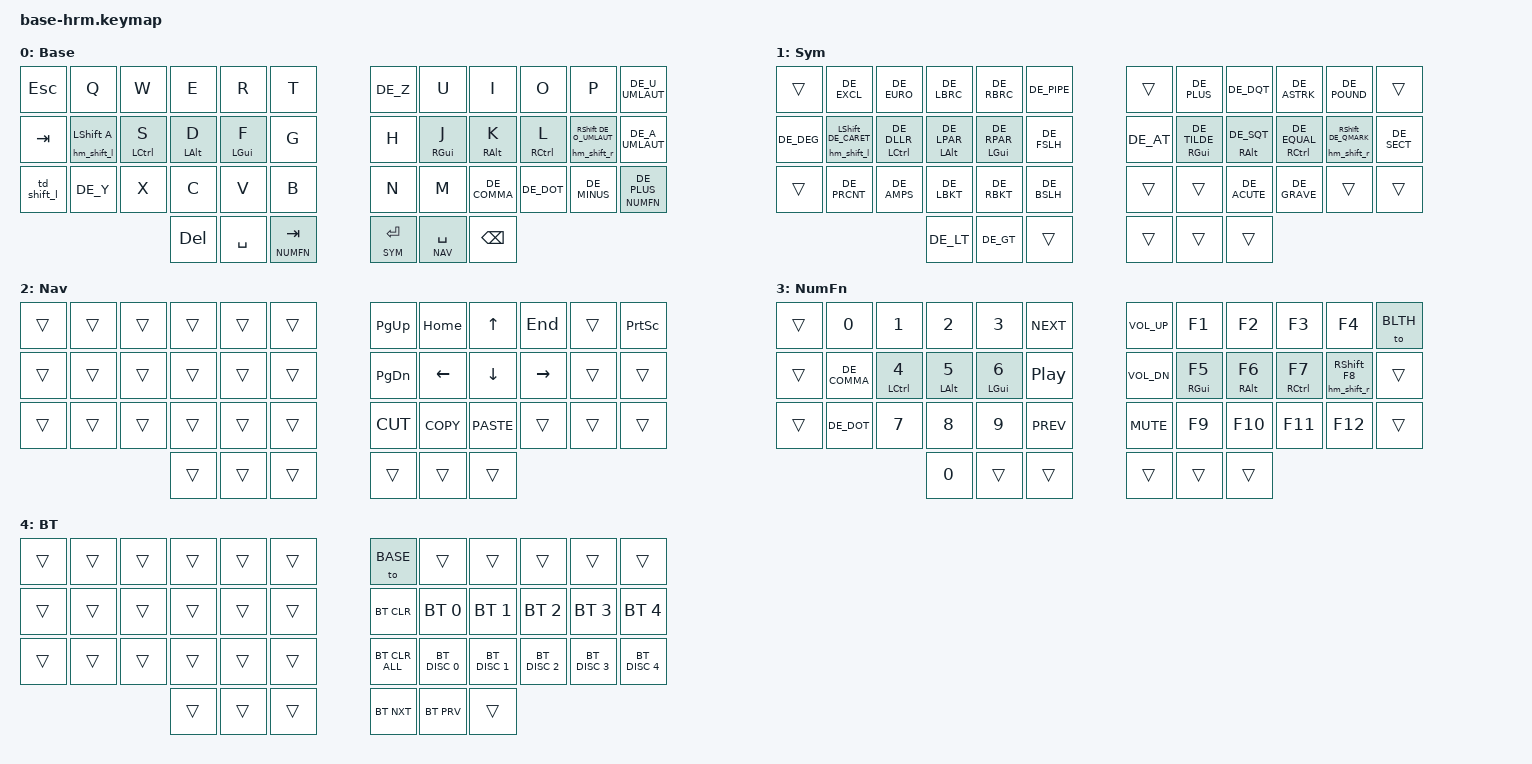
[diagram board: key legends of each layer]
/*
 * Copyright (c) 2020 The ZMK Contributors
 *
 * SPDX-License-Identifier: MIT
 */

// Define layer numbers
#define BASE 0
#define SYM 1
#define NAV 2
#define NUMFN 3
#define BLTH 4
#define NUM 5


// ZMK includes
#include <behaviors.dtsi>
#include <dt-bindings/zmk/keys.h>
#include <dt-bindings/zmk/bt.h>

// ZMK-locales includes
#include <locale/keys_de.h>

// Personal includes
#include "includes/settings.dtsi"
#include "includes/combos.dtsi"
#include "includes/behaviours_homerow_mods.dtsi"
#include "includes/behaviours_mod_morph.dtsi"
#include "includes/behaviours_other.dtsi"

/ {

  keymap {
    compatible = "zmk,keymap";



    Base_layer {
      display-name = "Base";
      bindings = <
// ╭────────────────────────┬────────────────────────┬────────────────────────┬────────────────────────┬────────────────────────┬────────────────────────╮    ╭────────────────────────┬────────────────────────┬────────────────────────┬───────────────────────┬────────────────────────┬────────────────────────╮
     &kp ESC                  &kp Q                    &kp W                    &kp E                    &kp R                    &kp T                         &kp DE_Z                 &kp U                    &kp I                    &kp O                   &kp P                    &kp DE_U_UMLAUT
// ├────────────────────────┼────────────────────────┼────────────────────────┼────────────────────────┼────────────────────────┼────────────────────────┤    ├────────────────────────┼────────────────────────┼────────────────────────┼───────────────────────┼────────────────────────┼────────────────────────┤
     &kp TAB                  &hm_shift_l LSHFT A      &hm_l LCTRL S            &hm_l LALT D             &hm_l LGUI F             &kp G                         &kp H                    &hm_r RGUI J             &hm_r RALT K             &hm_r RCTRL L           &hm_shift_r RSHFT DE_O_UMLAUT  &kp DE_A_UMLAUT
// ├────────────────────────┼────────────────────────┼────────────────────────┼────────────────────────┼────────────────────────┼────────────────────────┤    ├────────────────────────┼────────────────────────┼────────────────────────┼───────────────────────┼────────────────────────┼────────────────────────┤
     &td_shift_l              &kp DE_Y                 &kp X                    &kp C                    &kp V                    &kp B                         &kp N                    &kp M                    &kp DE_COMMA             &kp DE_DOT              &kp DE_MINUS             &lt NUMFN DE_PLUS
// ╰────────────────────────┴────────────────────────┴────────────────────────┴────────────────────────┼────────────────────────┼────────────────────────┤    ├────────────────────────┼────────────────────────┼────────────────────────┼───────────────────────┼────────────────────────┼────────────────────────╯
                                                                                &kp DEL                  &kp SPACE                &lt NUMFN TAB                 &lt SYM RET              &lt NAV SPACE            &kp BSPC
//                                                                            ╰────────────────────────┴────────────────────────┴────────────────────────╯    ╰────────────────────────┴────────────────────────┴────────────────────────╯
      >;
    };

    Sym_layer {
      display-name = "Sym";
      bindings = <
// ╭────────────────────────┬────────────────────────┬────────────────────────┬────────────────────────┬────────────────────────┬────────────────────────╮    ╭────────────────────────┬────────────────────────┬────────────────────────┬───────────────────────┬────────────────────────┬────────────────────────╮
     &trans                   &kp DE_EXCL              &kp DE_EURO              &kp DE_LBRC              &kp DE_RBRC              &kp DE_PIPE                   &trans                   &kp DE_PLUS              &kp DE_DQT               &kp DE_ASTRK            &kp DE_POUND             &trans
// ├────────────────────────┼────────────────────────┼────────────────────────┼────────────────────────┼────────────────────────┼────────────────────────┤    ├────────────────────────┼────────────────────────┼────────────────────────┼───────────────────────┼────────────────────────┼────────────────────────┤
     &kp DE_DEG               &hm_shift_l LSHFT DE_CARET &hm_l LCTRL DE_DLLR     &hm_l LALT DE_LPAR      &hm_l LGUI DE_RPAR       &kp DE_FSLH                   &kp DE_AT                &hm_r RGUI DE_TILDE      &hm_r RALT DE_SQT        &hm_r RCTRL DE_EQUAL    &hm_shift_r RSHFT DE_QMARK &kp DE_SECT
// ├────────────────────────┼────────────────────────┼────────────────────────┼────────────────────────┼────────────────────────┼────────────────────────┤    ├────────────────────────┼────────────────────────┼────────────────────────┼───────────────────────┼────────────────────────┼────────────────────────┤
     &trans                   &kp DE_PRCNT             &kp DE_AMPS              &kp DE_LBKT              &kp DE_RBKT              &kp DE_BSLH                   &trans                   &trans                   &kp DE_ACUTE             &kp DE_GRAVE            &trans                   &trans
// ╰────────────────────────┴────────────────────────┴────────────────────────┴────────────────────────┼────────────────────────┼────────────────────────┤    ├────────────────────────┼────────────────────────┼────────────────────────┼───────────────────────┼────────────────────────┼────────────────────────╯
                                                                                &kp DE_LT                &kp DE_GT                &trans                        &trans                   &trans                   &trans
//                                                                            ╰────────────────────────┴────────────────────────┴────────────────────────╯    ╰────────────────────────┴────────────────────────┴────────────────────────╯
      >;
    };

    Nav_layer {
      display-name = "Nav";
      bindings = <
// ╭────────────────────────┬────────────────────────┬────────────────────────┬────────────────────────┬────────────────────────┬────────────────────────╮    ╭────────────────────────┬────────────────────────┬────────────────────────┬────────────────────────┬────────────────────────┬────────────────────────╮
     &trans                   &trans                   &trans                   &trans                   &trans                   &trans                        &kp PAGE_UP              &kp HOME                 &kp UP                   &kp END                  &trans                   &kp PSCRN
// ├────────────────────────┼────────────────────────┼────────────────────────┼────────────────────────┼────────────────────────┼────────────────────────┤    ├────────────────────────┼────────────────────────┼────────────────────────┼────────────────────────┼────────────────────────┼────────────────────────┤
     &trans                   &trans                   &trans                   &trans                   &trans                   &trans                        &kp PAGE_DOWN            &kp LEFT                 &kp DOWN                 &kp RIGHT                &trans                   &trans
// ├────────────────────────┼────────────────────────┼────────────────────────┼────────────────────────┼────────────────────────┼────────────────────────┤    ├────────────────────────┼────────────────────────┼────────────────────────┼────────────────────────┼────────────────────────┼────────────────────────┤
     &trans                   &trans                   &trans                   &trans                   &trans                   &trans                        &kp K_CUT                &kp K_COPY               &kp K_PASTE              &trans                   &trans                   &trans
// ╰────────────────────────┴────────────────────────┴────────────────────────┴────────────────────────┼────────────────────────┼────────────────────────┤    ├────────────────────────┼────────────────────────┼────────────────────────┼────────────────────────┴────────────────────────┼────────────────────────╯
                                                                                &trans                   &trans                   &trans                        &trans                   &trans                   &trans
//                                                                            ╰────────────────────────┴────────────────────────┴────────────────────────╯    ╰────────────────────────┴────────────────────────┴────────────────────────╯
      >;
    };

    NumFn_layer {
      display-name = "NumFn";
      bindings = <
// ╭────────────────────────┬────────────────────────┬────────────────────────┬────────────────────────┬────────────────────────┬────────────────────────╮    ╭────────────────────────┬────────────────────────┬────────────────────────┬────────────────────────┬────────────────────────┬────────────────────────╮
     &trans                   &kp N0                   &kp N1                   &kp N2                   &kp N3                   &kp C_NEXT                    &kp C_VOL_UP             &kp F1                   &kp F2                   &kp F3                   &kp F4                   &to BLTH
// ├────────────────────────┼────────────────────────┼────────────────────────┼────────────────────────┼────────────────────────┼────────────────────────┤    ├────────────────────────┼────────────────────────┼────────────────────────┼────────────────────────┼────────────────────────┼────────────────────────┤
     &trans                   &kp DE_COMMA             &hm_l LCTRL N4           &hm_l LALT N5            &hm_l LGUI N6            &kp C_PP                      &kp C_VOL_DN             &hm_r RGUI F5            &hm_r RALT F6            &hm_r RCTRL F7           &hm_shift_r RSHFT F8     &trans
// ├────────────────────────┼────────────────────────┼────────────────────────┼────────────────────────┼────────────────────────┼────────────────────────┤    ├────────────────────────┼────────────────────────┼────────────────────────┼────────────────────────┼────────────────────────┼────────────────────────┤
     &trans                   &kp DE_DOT               &kp N7                   &kp N8                   &kp N9                   &kp C_PREV                    &kp C_MUTE               &kp F9                   &kp F10                  &kp F11                  &kp F12                  &trans
// ╰────────────────────────┴────────────────────────┴────────────────────────┴────────────────────────┼────────────────────────┼────────────────────────┤    ├────────────────────────┼────────────────────────┼────────────────────────┼────────────────────────┴────────────────────────┼────────────────────────╯
                                                                                &kp N0                   &trans                   &trans                        &trans                   &trans                   &trans
//                                                                            ╰────────────────────────┴────────────────────────┴────────────────────────╯    ╰────────────────────────┴────────────────────────┴────────────────────────╯
      >;
    };

    BT_layer {
      display-name = "BT";
      bindings = <
// ╭────────────────────────┬────────────────────────┬────────────────────────┬────────────────────────┬────────────────────────┬────────────────────────╮    ╭────────────────────────┬────────────────────────┬────────────────────────┬────────────────────────┬────────────────────────┬────────────────────────╮
     &trans                   &trans                   &trans                   &trans                   &trans                   &trans                        &to BASE                 &trans                   &trans                   &trans                   &trans                   &trans
// ├────────────────────────┼────────────────────────┼────────────────────────┼────────────────────────┼────────────────────────┼────────────────────────┤    ├────────────────────────┼────────────────────────┼────────────────────────┼────────────────────────┼────────────────────────┼────────────────────────┤
     &trans                   &trans                   &trans                   &trans                   &trans                   &trans                        &bt BT_CLR               &bt BT_SEL 0             &bt BT_SEL 1             &bt BT_SEL 2             &bt BT_SEL 3             &bt BT_SEL 4
// ├────────────────────────┼────────────────────────┼────────────────────────┼────────────────────────┼────────────────────────┼────────────────────────┤    ├────────────────────────┼────────────────────────┼────────────────────────┼────────────────────────┼────────────────────────┼────────────────────────┤
     &trans                   &trans                   &trans                   &trans                   &trans                   &trans                        &bt BT_CLR_ALL           &bt BT_DISC 0            &bt BT_DISC 1            &bt BT_DISC 2            &bt BT_DISC 3            &bt BT_DISC 4
// ╰────────────────────────┴────────────────────────┴────────────────────────┴────────────────────────┼────────────────────────┼────────────────────────┤    ├────────────────────────┼────────────────────────┼────────────────────────┼────────────────────────┴────────────────────────┼────────────────────────╯
                                                                                &trans                   &trans                   &trans                        &bt BT_NXT               &bt BT_PRV               &trans
//                                                                            ╰────────────────────────┴────────────────────────┴────────────────────────╯    ╰────────────────────────┴────────────────────────┴────────────────────────╯
      >;
    };

//    NumNav_layer {
//      display-name = "NumNav";
//      bindings = <
//// ╭────────────────────────┬────────────────────────┬────────────────────────┬────────────────────────┬────────────────────────┬────────────────────────╮    ╭────────────────────────┬────────────────────────┬────────────────────────┬────────────────────────┬────────────────────────┬────────────────────────╮
//     &trans                   &trans                   &kp N1                   &kp N2                   &kp N3                   &trans                        &kp PAGE_UP              &kp HOME                 &kp UP                   &kp END                  &trans                   &trans
//// ├────────────────────────┼────────────────────────┼────────────────────────┼────────────────────────┼────────────────────────┼────────────────────────┤    ├────────────────────────┼────────────────────────┼────────────────────────┼────────────────────────┼────────────────────────┼────────────────────────┤
//     &trans                   &trans                   &hm_l LALT N4            &hm_l LCTRL N5           &hm_l LGUI N6            &trans                        &kp PAGE_DOWN            &hm_r RGUI LEFT          &hm_r RCTRL DOWN         &hm_r RALT RIGHT         &trans                   &trans
//// ├────────────────────────┼────────────────────────┼────────────────────────┼────────────────────────┼────────────────────────┼────────────────────────┤    ├────────────────────────┼────────────────────────┼────────────────────────┼────────────────────────┼────────────────────────┼────────────────────────┤
//     &trans                   &trans                   &kp N7                   &kp N8                   &kp N9                   &trans                        &kp K_CUT                &kp K_COPY               &kp K_PASTE              &trans                   &trans                   &trans
//// ╰────────────────────────┴────────────────────────┴────────────────────────┴────────────────────────┼────────────────────────┼────────────────────────┤    ├────────────────────────┼────────────────────────┼────────────────────────┼────────────────────────┴────────────────────────┼────────────────────────╯
//                                                                                &kp N0                   &kp N0                   &trans                        &trans                   &trans                   &trans
////                                                                            ╰────────────────────────┴────────────────────────┴────────────────────────╯    ╰────────────────────────┴────────────────────────┴────────────────────────╯
//      >;
//    };

//    Fn_layer {
//      display-name = "Fn";
//      bindings = <
//// ╭────────────────────────┬────────────────────────┬────────────────────────┬────────────────────────┬────────────────────────┬────────────────────────╮    ╭────────────────────────┬────────────────────────┬────────────────────────┬────────────────────────┬────────────────────────┬────────────────────────╮
//     &trans                   &trans                   &trans                   &trans                   &trans                   &trans                        &to BLTH                 &kp F1                   &kp F2                   &kp F3                   &kp F4                   &trans
//// ├────────────────────────┼────────────────────────┼────────────────────────┼────────────────────────┼────────────────────────┼────────────────────────┤    ├────────────────────────┼────────────────────────┼────────────────────────┼────────────────────────┼────────────────────────┼────────────────────────┤
//     &trans                   &trans                   &kp C_PREV               &kp C_PP                 &kp C_NEXT               &trans                        &trans                   &kp F5                   &kp F6                   &kp F7                   &kp F8                   &trans
//// ├────────────────────────┼────────────────────────┼────────────────────────┼────────────────────────┼────────────────────────┼────────────────────────┤    ├────────────────────────┼────────────────────────┼────────────────────────┼────────────────────────┼────────────────────────┼────────────────────────┤
//     &trans                   &trans                   &kp C_MUTE               &kp C_VOL_DN             &kp C_VOL_UP             &trans                        &trans                   &kp F9                   &kp F10                  &kp F11                  &kp F12                  &trans
//// ╰────────────────────────┴────────────────────────┴────────────────────────┴────────────────────────┼────────────────────────┼────────────────────────┤    ├────────────────────────┼────────────────────────┼────────────────────────┼────────────────────────┴────────────────────────┼────────────────────────╯
//                                                                                &trans                   &trans                   &trans                        &trans                   &trans                   &trans
////                                                                            ╰────────────────────────┴────────────────────────┴────────────────────────╯    ╰────────────────────────┴────────────────────────┴────────────────────────╯
//      >;
//    };

//    Num_layer {
//      display-name = "Num";
//      bindings = <
//// ╭────────────────────────┬────────────────────────┬────────────────────────┬────────────────────────┬────────────────────────┬────────────────────────╮    ╭────────────────────────┬────────────────────────┬────────────────────────┬────────────────────────┬────────────────────────┬────────────────────────╮
//     &trans                   &trans                   &kp N1                   &kp N2                   &kp N3                   &trans                        &trans                   &kp F1                   &kp F2                   &kp F3                   &kp F4                   &trans
//// ├────────────────────────┼────────────────────────┼────────────────────────┼────────────────────────┼────────────────────────┼────────────────────────┤    ├────────────────────────┼────────────────────────┼────────────────────────┼────────────────────────┼────────────────────────┼────────────────────────┤
//     &trans                   &trans                   &kp N4                   &kp N5                   &kp N6                   &trans                        &trans                   &kp F5                   &kp F6                   &kp F7                   &kp F8                   &trans
//// ├────────────────────────┼────────────────────────┼────────────────────────┼────────────────────────┼────────────────────────┼────────────────────────┤    ├────────────────────────┼────────────────────────┼────────────────────────┼────────────────────────┼────────────────────────┼────────────────────────┤
//     &trans                   &trans                   &kp N7                   &kp N8                   &kp N9                   &trans                        &trans                   &kp F9                   &kp F10                  &kp F11                  &kp F12                  &trans
//// ╰────────────────────────┴────────────────────────┴────────────────────────┴────────────────────────┼────────────────────────┼────────────────────────┤    ├────────────────────────┼────────────────────────┼────────────────────────┼────────────────────────┴────────────────────────┼────────────────────────╯
//                                                                                &kp N0                   &trans                   &trans                        &trans                   &trans                   &trans
////                                                                            ╰────────────────────────┴────────────────────────┴────────────────────────╯    ╰────────────────────────┴────────────────────────┴────────────────────────╯
//      >;
//    };
//
//    Nav_layer {
//      display-name = "Nav";
//      bindings = <
//// ╭────────────────────────┬────────────────────────┬────────────────────────┬────────────────────────┬────────────────────────┬────────────────────────╮    ╭────────────────────────┬────────────────────────┬────────────────────────┬────────────────────────┬────────────────────────┬────────────────────────╮
//     &kp ESC                  &kp F9                   &kp F10                  &kp F11                  &kp F12                  &kp C_VOL_UP                  &to BASE                 &kp C_PP                 &kp UP                   &kp INSERT               &kp HOME                 &kp PAGE_UP
//// ├────────────────────────┼────────────────────────┼────────────────────────┼────────────────────────┼────────────────────────┼────────────────────────┤    ├────────────────────────┼────────────────────────┼────────────────────────┼────────────────────────┼────────────────────────┼────────────────────────┤
//     &mm_bspc_del             &kp F5                   &kp F6                   &kp F7                   &kp F8                   &kp C_VOL_DN                  &to NUMNAV               &kp LEFT                 &kp DOWN                 &kp RIGHT                &kp END                  &kp PAGE_DOWN
//// ├────────────────────────┼────────────────────────┼────────────────────────┼────────────────────────┼────────────────────────┼────────────────────────┤    ├────────────────────────┼────────────────────────┼────────────────────────┼────────────────────────┼────────────────────────┼────────────────────────┤
//     &kp LSHFT                &kp F1                   &kp F2                   &kp F3                   &kp F4                   &kp C_MUTE                    &to BLTH                 &kp PSCRN                &kp SLCK                 &kp PAUSE_BREAK          &kp KP_NUMLOCK           &kp LEFT_GUI
//// ╰────────────────────────┴────────────────────────┴────────────────────────┴────────────────────────┼────────────────────────┼────────────────────────┤    ├────────────────────────┼────────────────────────┼────────────────────────┼────────────────────────┴────────────────────────┼────────────────────────╯
//                                                                                &kp TAB                  &kp ENTER                &kp LSHFT                     &trans                   &kp SPACE                &trans
////                                                                            ╰────────────────────────┴────────────────────────┴────────────────────────╯    ╰────────────────────────┴────────────────────────┴────────────────────────╯
//      >;
//    };

  };

};
